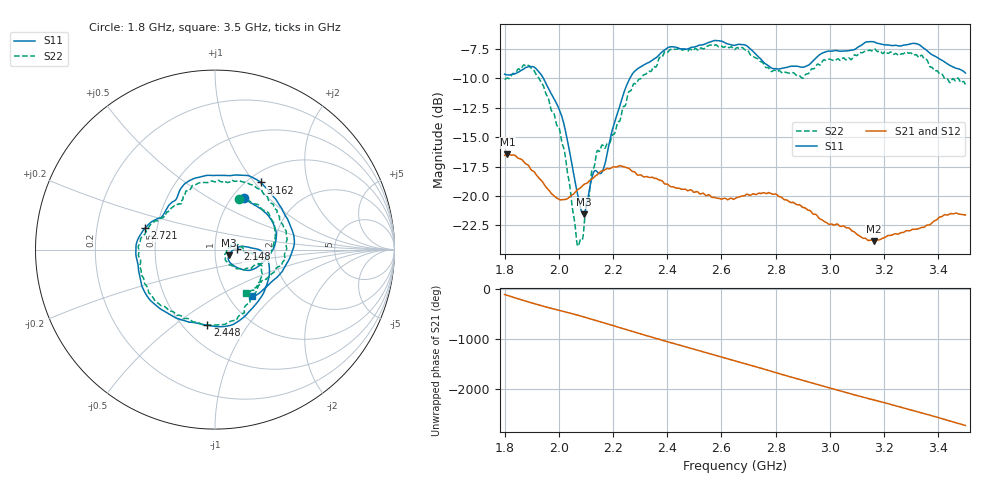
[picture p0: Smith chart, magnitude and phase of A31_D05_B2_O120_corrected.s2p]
! Created with skrf 1.9.0 (http://scikit-rf.org).
# Hz S RI R 50.0
!freq ReS11 ImS11 ReS21 ImS21 ReS12 ImS12 ReS22 ImS22
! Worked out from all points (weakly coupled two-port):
!   1601 points, 1.8 GHz to 3.5 GHz, reference 50 ohm
!   highest |S21| = -16.47 dB at 1.811 GHz (marker M1); lowest = -23.8 dB at 3.162 GHz (marker M2)
!   lowest |S11| = -21.6 dB at 2.091 GHz (marker M3), VSWR 1.18, Z = 58.3 - j3.67 ohm
!   |S11| at or under -10 dB: 1.943 GHz to 2.262 GHz (318.4 MHz wide, 15.1 % of centre)
!   |S22| runs from -24.3 to -7.1 dB; largest |S21 - S12| = 0.0027
!   S11 on the Smith chart (normalised r, x): 1.8 GHz: 1.13, +0.73; 2.148 GHz: 1.28, +0.01; 2.448 GHz: 0.65, -0.67; 2.721 GHz: 0.43, +0.12; 3.162 GHz: 1.14, +1.08; 3.5 GHz: 1.28, -0.75
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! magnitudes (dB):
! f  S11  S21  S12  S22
! 1.8 GHz  -9.6  -16.6  -16.6  -10.1
! 1.811 GHz  -9.7  -16.5  -16.5  -10.0
! 1.885 GHz  -9.0  -17.3  -17.4  -8.9
! 1.94 GHz  -9.9  -18.8  -18.8  -10.5
! 2.013 GHz  -13.3  -20.3  -20.3  -15.6
! 2.066 GHz  -19.5  -19.5  -19.6  -23.8
! 2.084 GHz  -21.3  -19.2  -19.2  -23.7
! 2.091 GHz  -21.6  -19.1  -19.1  -23.1
! 2.126 GHz  -18.1  -18.5  -18.5  -17.7
! 2.148 GHz  -18.1  -18.1  -18.1  -16.2
! 2.195 GHz  -14.6  -17.6  -17.6  -14.9
! 2.261 GHz  -10.0  -17.7  -17.7  -11.1
! 2.367 GHz  -8.1  -18.6  -18.6  -8.5
! 2.448 GHz  -7.5  -19.4  -19.4  -7.5
! 2.65 GHz  -7.2  -20.2  -20.2  -7.5
! 2.721 GHz  -7.8  -19.8  -19.8  -8.2
! 2.795 GHz  -9.2  -19.8  -19.8  -9.3
! 2.934 GHz  -8.6  -21.4  -21.4  -9.2
! 3.162 GHz  -6.9  -23.8  -23.8  -7.5
! 3.217 GHz  -7.2  -23.4  -23.3  -7.9
! 3.324 GHz  -7.1  -22.8  -22.8  -8.1
! 3.5 GHz  -9.5  -21.6  -21.6  -10.5
